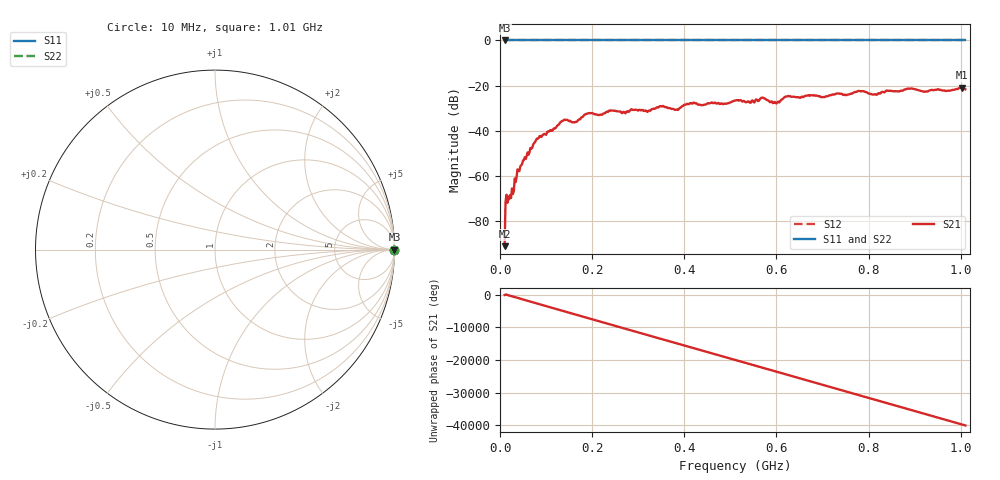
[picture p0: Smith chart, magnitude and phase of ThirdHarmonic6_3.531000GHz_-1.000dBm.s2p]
! 8/17/2025 11:36:27 AM
! C:\ANRITSUVNA\TEMP\TEMP.S2P
! CHANNEL.1
! TR.MEASUREMENT
! RAW.DATA
! RF.CORRECTION.OFF
! AVERAGING.OFF
! IF.BANDWIDTH: 5KHZ
! SWEEPTYPE:  FREQ.SWEEP(Linear)
! Reference Plane Port Info
! PORT:  PORT1  PORT2
! DISTANCE:  0  m  0  m
! TIME:  0  s  0  s
! PHASE.OFFSET:  0  deg.  0  deg.
! LOSS:  0  dB  0  dB
! REF.LOSS:  0  dB  0  dB
! REF.FREQ:  0  Hz  0  Hz
! Power Info
! POWER:  -20  dBm  -20  dBm
! EFF.POWER:  -20  dBm  -20  dBm
! SOURCE.ATTEN:  0  dB  0  dB
! TEST.ATTEN:  0  dB  0  dB
# GHZ S RI R 50.0
! FREQ.GHZ  S11RE  S11IM  S21RE  S21IM  S12RE  S12IM  S22RE  S22IM
!; PortSelection: Port_12
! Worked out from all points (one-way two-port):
!   501 points, 10 MHz to 1.01 GHz, reference 50 ohm
!   highest |S21| = -20.89 dB at 1.002 GHz (marker M1); lowest = -90.9 dB at 10 MHz (marker M2)
!   lowest |S11| = 0.0 dB at 10 MHz (marker M3)
!   |S11| at or under -10 dB: nowhere
!   |S22| runs from 0.0 to 0.0 dB; largest |S21 - S12| = 1.1
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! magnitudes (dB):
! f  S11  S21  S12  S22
! 10 MHz  0.0  -90.9  0.0  0.0
! 16 MHz  0.0  -71.8  0.0  0.0
! 26 MHz  0.0  -65.4  0.0  0.0
! 42 MHz  0.0  -57.8  0.0  0.0
! 78 MHz  0.0  -44.2  0.0  0.0
! 136 MHz  0.0  -35.6  0.0  0.0
! 162 MHz  0.0  -36.3  0.0  0.0
! 178 MHz  0.0  -33.9  0.0  0.0
! 194 MHz  0.0  -32.1  0.0  0.0
! 322 MHz  0.0  -31.1  0.0  0.0
! 344 MHz  0.0  -29.6  0.0  0.0
! 382 MHz  0.0  -30.6  0.0  0.0
! 416 MHz  0.0  -27.9  0.0  0.0
! 510 MHz  0.0  -26.6  0.0  0.0
! 570 MHz  0.0  -25.3  0.0  0.0
! 596 MHz  0.0  -27.2  0.0  0.0
! 622 MHz  0.0  -24.8  0.0  0.0
! 678 MHz  0.0  -24.2  0.0  0.0
! 814 MHz  0.0  -23.8  0.0  0.0
! 844 MHz  0.0  -22.3  0.0  0.0
! 1.002 GHz  0.0  -20.9  0.0  0.0
! 1.01 GHz  0.0  -21.6  0.0  0.0
